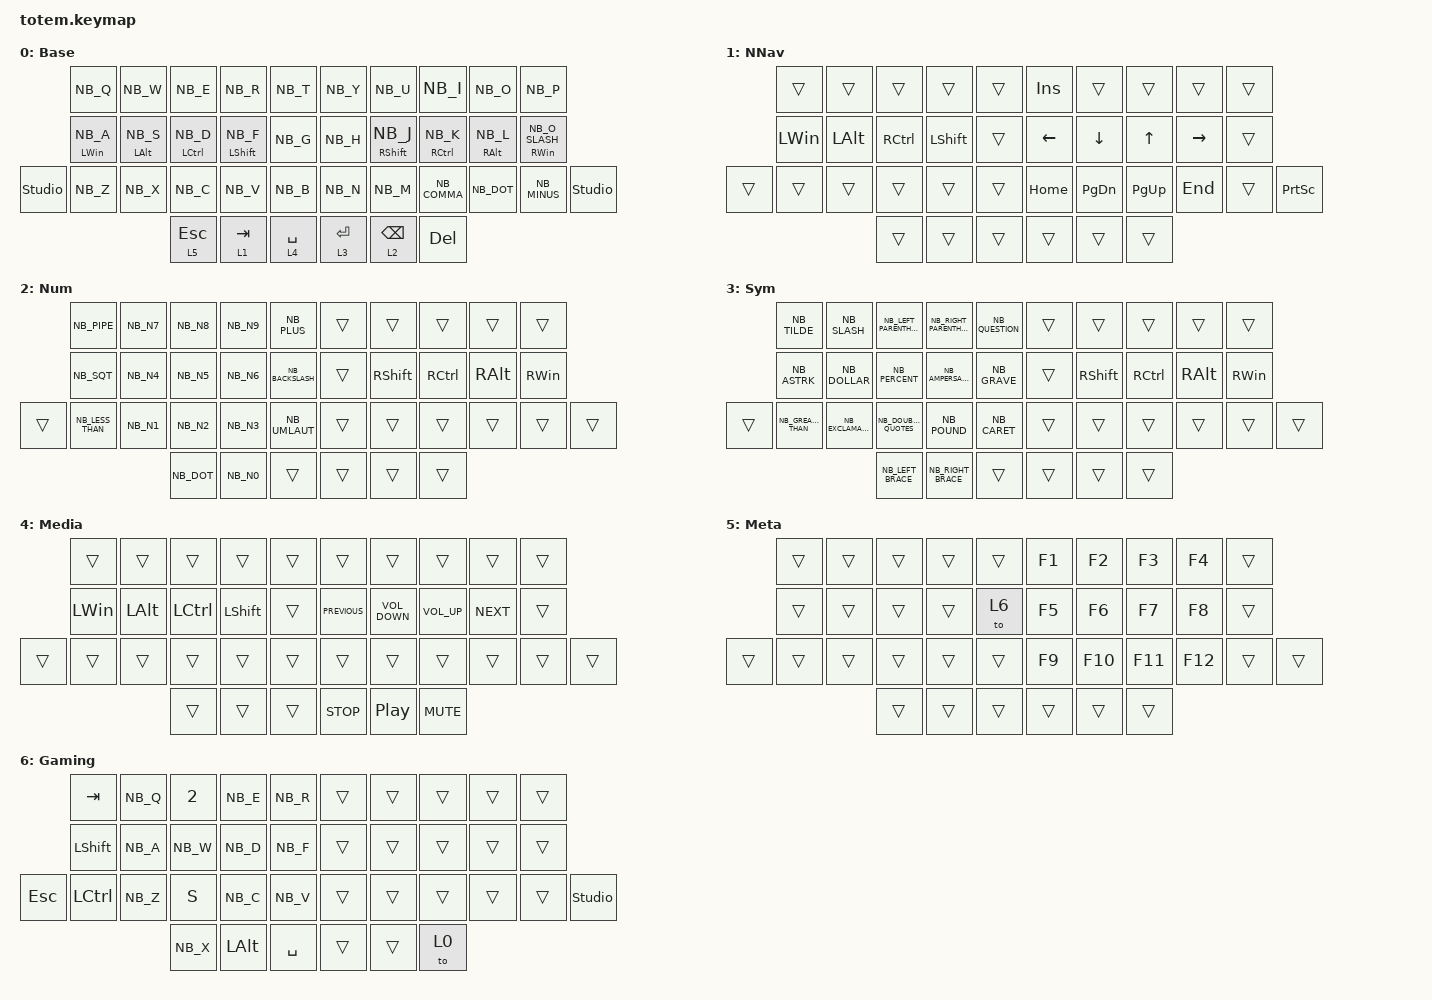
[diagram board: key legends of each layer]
//
//                                                        ▀▀▀▀▀     ▀▀▀▀▀          ▀▀█▀▀
//                                                        ▄▀▀▀▄  ▄  ▄▀▀▀▄  ▄  ▄▀▀▀▄  █  ▄▀▀▀▄
//                                                        █   █  █  █   █  █  █   █  █  █   █
//                                                         ▀▀▀   █   ▀▀▀   █   ▀▀▀   ▀   ▀▀▀
//                                                               █      ▄▄▄█▄▄▄    █   █  
//                                                               ▀      █  █  █     █▄█
//                                                             ▀▀▀▀▀    █  █  █      ▀
//                                                                      ▀  ▀  ▀
//
// ▄▄▄▄▄▄▄▄▄▄▄▄▄▄▄▄▄▄▄▄▄▄▄▄▄▄▄▄▄▄▄▄▄▄▄▄▄▄▄▄▄▄▄▄▄▄▄▄▄▄▄▄▄▄▄▄▄▄▄▄▄▄▄▄▄▄▄▄▄▄▄▄▄▄▄▄▄▄▄▄▄▄▄▄▄▄▄▄▄▄▄▄▄▄▄▄▄▄▄▄▄▄▄▄▄▄▄▄▄▄▄▄▄▄▄▄▄▄▄▄▄▄▄▄▄▄▄▄▄▄▄▄▄▄▄▄▄▄▄▄▄▄▄▄▄▄▄▄▄

#include "keys_nb.h"
#include <behaviors.dtsi>
#include <dt-bindings/zmk/keys.h>

#define Base        0
#define NNav        1
#define Num         2
#define Sym         3
#define Media       4
#define Meta        5
#define Gameing     6

&mt {
    quick-tap-ms = <100>;
    global-quick-tap;
    flavor = "tap-preferred";
    tapping-term-ms = <170>;
};

&lt {
    tapping-term-ms = <240>;
    flavor = "balanced";
    quick-tap-ms = <150>;
};

/ {
    behaviors {
        hm: homerow_mods {
            compatible = "zmk,behavior-hold-tap";
            label = "HOMEROW_MODS";
            #binding-cells = <2>;
            flavor = "tap-preferred";
            tapping-term-ms = <250>;
            quick-tap-ms = <125>;
            global-quick-tap;
            bindings = <&kp>, <&kp>;
        };

        cw: CapsWord {
            compatible = "zmk,behavior-caps-word";
            label = "CapsWord";
            #binding-cells = <0>;
            continue-list = <BACKSPACE UNDERSCORE DELETE ENTER SPACE>;
        };
    };

    combos {
        compatible = "zmk,combos";

        CapsWord {
            bindings = <&caps_word>;
            key-positions = <13 16>;
        };
    };

    keymap {
        compatible = "zmk,keymap";

        Base {
            label = "Base";
            bindings = <
                &kp NB_Q           &kp NB_W       &kp NB_E        &kp NB_R         &kp NB_T       &kp NB_Y     &kp NB_U        &kp NB_I        &kp NB_O       &kp NB_P
                &hm LEFT_WIN NB_A  &hm LALT NB_S  &hm LCTRL NB_D  &hm LSHIFT NB_F  &kp NB_G       &kp NB_H     &hm RSHFT NB_J  &hm RCTRL NB_K  &hm RALT NB_L  &hm RIGHT_WIN NB_O_SLASH
&studio_unlock  &kp NB_Z           &kp NB_X       &kp NB_C        &kp NB_V         &kp NB_B       &kp NB_N     &kp NB_M        &kp NB_COMMA    &kp NB_DOT     &kp NB_MINUS              &studio_unlock
                                                  &lt 5 ESC       &lt 1 TAB        &lt 4 SPACE    &lt 3 ENTER  &lt 2 BSPC      &kp DELETE
            >;
        };

        NNav {
            label = "NNav";
            bindings = <
        &trans        &trans        &trans     &trans          &trans    &kp INSERT      &trans          &trans        &trans           &trans
        &kp LEFT_WIN  &kp LEFT_ALT  &kp RCTRL  &kp LEFT_SHIFT  &trans    &kp LEFT_ARROW  &kp DOWN_ARROW  &kp UP_ARROW  &kp RIGHT_ARROW  &trans
&trans  &trans        &trans        &trans     &trans          &trans    &kp HOME        &kp PAGE_DOWN   &kp PG_UP     &kp END          &trans  &kp PRINTSCREEN
                                    &trans     &trans          &trans    &trans          &trans          &trans
            >;
        };

        Num {
            bindings = <
        &kp NB_PIPE       &kp NB_N7  &kp NB_N8   &kp NB_N9  &kp NB_PLUS         &trans  &trans           &trans     &trans         &trans
        &kp NB_SQT        &kp NB_N4  &kp NB_N5   &kp NB_N6  &kp NB_BACKSLASH    &trans  &kp RIGHT_SHIFT  &kp RCTRL  &kp RIGHT_ALT  &kp RIGHT_WIN
&trans  &kp NB_LESS_THAN  &kp NB_N1  &kp NB_N2   &kp NB_N3  &kp NB_UMLAUT       &trans  &trans           &trans     &trans         &trans         &trans
                                     &kp NB_DOT  &kp NB_N0  &trans              &trans  &trans           &trans
            >;

            label = "Num";
        };

        Sym {
            label = "Sym";
            bindings = <
        &kp NB_TILDE         &kp NB_SLASH        &kp NB_LEFT_PARENTHESIS  &kp NB_RIGHT_PARENTHESIS  &kp NB_QUESTION    &trans  &trans           &trans     &trans         &trans
        &kp NB_ASTRK         &kp NB_DOLLAR       &kp NB_PERCENT           &kp NB_AMPERSAND          &kp NB_GRAVE       &trans  &kp RIGHT_SHIFT  &kp RCTRL  &kp RIGHT_ALT  &kp RIGHT_WIN
&trans  &kp NB_GREATER_THAN  &kp NB_EXCLAMATION  &kp NB_DOUBLE_QUOTES     &kp NB_POUND              &kp NB_CARET       &trans  &trans           &trans     &trans         &trans         &trans
                                                 &kp NB_LEFT_BRACE        &kp NB_RIGHT_BRACE        &trans             &trans  &trans           &trans
            >;
        };

        Media {
            bindings = <
        &trans        &trans        &trans            &trans          &trans    &trans          &trans             &trans        &trans      &trans
        &kp LEFT_WIN  &kp LEFT_ALT  &kp LEFT_CONTROL  &kp LEFT_SHIFT  &trans    &kp C_PREVIOUS  &kp C_VOLUME_DOWN  &kp C_VOL_UP  &kp C_NEXT  &trans
&trans  &trans        &trans        &trans            &trans          &trans    &trans          &trans             &trans        &trans      &trans  &trans
                                    &trans            &trans          &trans    &kp C_STOP      &kp C_PP           &kp C_MUTE
            >;

            label = "Media";
        };

        Meta {
            bindings = <
        &trans  &trans  &trans  &trans  &trans    &kp F1  &kp F2   &kp F3   &kp F4   &trans
        &trans  &trans  &trans  &trans  &to 6     &kp F5  &kp F6   &kp F7   &kp F8   &trans
&trans  &trans  &trans  &trans  &trans  &trans    &kp F9  &kp F10  &kp F11  &kp F12  &trans  &trans
                        &trans  &trans  &trans    &trans  &trans   &trans
            >;

            label = "Meta";
        };

        Gaming {
            bindings = <
            &kp TAB           &kp NB_Q  &kp NUMBER_2  &kp NB_E      &kp NB_R     &trans  &trans  &trans  &trans  &trans
            &kp LEFT_SHIFT    &kp NB_A  &kp NB_W      &kp NB_D      &kp NB_F     &trans  &trans  &trans  &trans  &trans
&kp ESCAPE  &kp LEFT_CONTROL  &kp NB_Z  &kp S         &kp NB_C      &kp NB_V     &trans  &trans  &trans  &trans  &trans  &studio_unlock
                                        &kp NB_X      &kp LEFT_ALT  &kp SPACE    &trans  &trans  &to 0
            >;

            label = "Gaming";
        };
    };

    conditional_layers { compatible = "zmk,conditional-layers"; };
};
